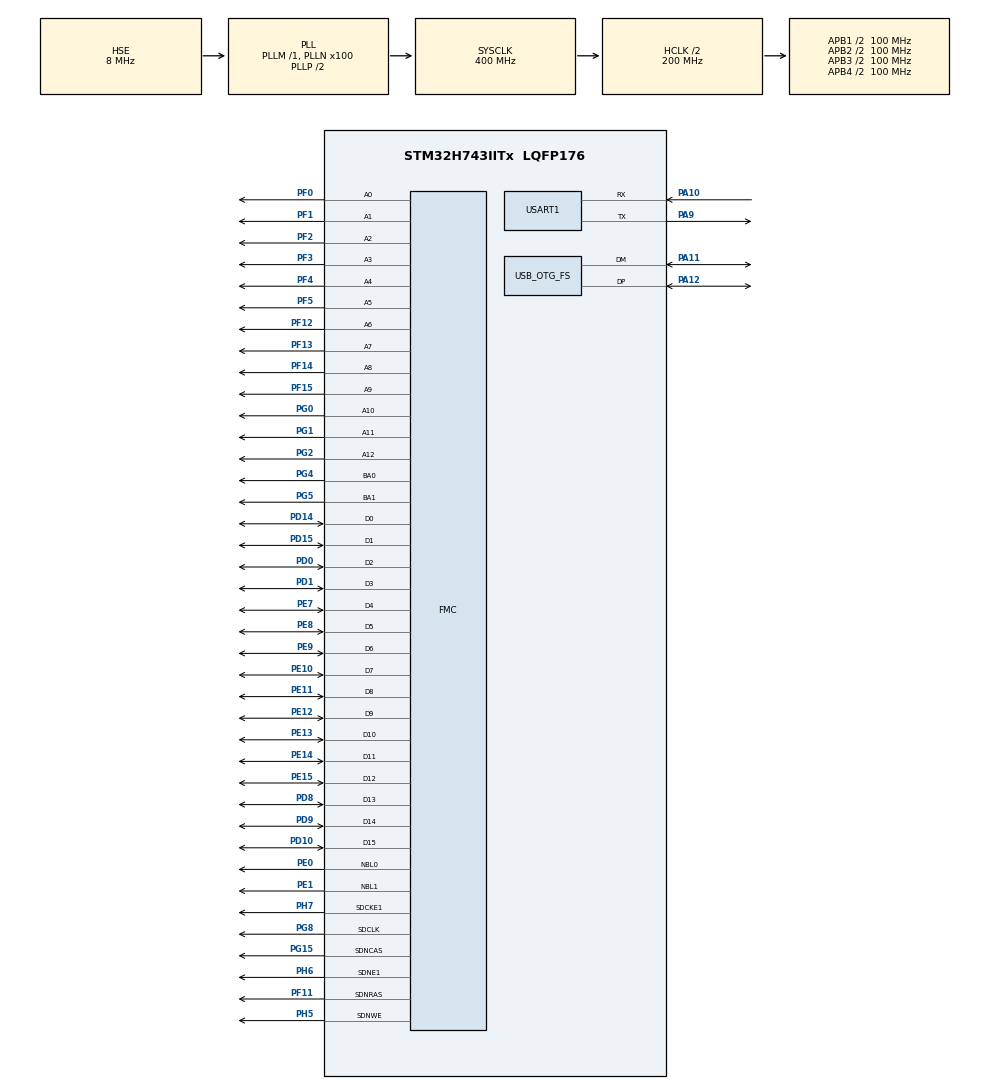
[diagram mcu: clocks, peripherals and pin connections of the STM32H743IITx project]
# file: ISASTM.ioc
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CORTEX_M7.AccessPermission-Cortex_Memory_Protection_Unit_Region0_Settings=MPU_REGION_FULL_ACCESS
CORTEX_M7.CPU_DCache=Disabled
CORTEX_M7.CPU_ICache=Disabled
CORTEX_M7.Enable-Cortex_Memory_Protection_Unit_Region0_Settings=MPU_REGION_ENABLE
CORTEX_M7.IsBufferable-Cortex_Memory_Protection_Unit_Region0_Settings=MPU_ACCESS_BUFFERABLE
CORTEX_M7.IsCacheable-Cortex_Memory_Protection_Unit_Region0_Settings=MPU_ACCESS_CACHEABLE
CORTEX_M7.IsShareable-Cortex_Memory_Protection_Unit_Region0_Settings=MPU_ACCESS_SHAREABLE
CORTEX_M7.MPU_Control=__NULL
CORTEX_M7.Size-Cortex_Memory_Protection_Unit_Region0_Settings=MPU_REGION_SIZE_4GB
FMC.BankMapConfig=FMC_SWAPBMAP_DISABLE
FMC.CASLatency2=FMC_SDRAM_CAS_LATENCY_3
FMC.ColumnBitsNumber2=FMC_SDRAM_COLUMN_BITS_NUM_9
FMC.ExitSelfRefreshDelay2=6
FMC.LoadToActiveDelay2=2
FMC.RCDDelay2=2
FMC.RPDelay2=2
FMC.ReadBurst2=FMC_SDRAM_RBURST_ENABLE
FMC.ReadPipeDelay2=FMC_SDRAM_RPIPE_DELAY_0
FMC.RowCycleDelay2=6
FMC.SDClockPeriod2=FMC_SDRAM_CLOCK_PERIOD_2
FMC.SelfRefreshTime2=1
FMC.WriteRecoveryTime2=3
Mcu.Family=STM32H7
Mcu.Name=STM32H743IITx
Mcu.Package=LQFP176
NVIC.OTG_FS_IRQn=true\:0\:0\:false\:false\:true\:false\:true
NVIC.PriorityGroup=NVIC_PRIORITYGROUP_4
PA10.Mode=Asynchronous
PA10.Signal=USART1_RX
PA11.Mode=Device_Only
PA11.Signal=USB_OTG_FS_DM
PA12.Mode=Device_Only
PA12.Signal=USB_OTG_FS_DP
PA9.Mode=Asynchronous
PA9.Signal=USART1_TX
PD0.Signal=FMC_D2_DA2
PD1.Signal=FMC_D3_DA3
PD10.Signal=FMC_D15_DA15
PD14.Signal=FMC_D0_DA0
PD15.Signal=FMC_D1_DA1
PD8.Signal=FMC_D13_DA13
PD9.Signal=FMC_D14_DA14
PE0.Signal=FMC_NBL0
PE1.Signal=FMC_NBL1
PE10.Signal=FMC_D7_DA7
PE11.Signal=FMC_D8_DA8
PE12.Signal=FMC_D9_DA9
PE13.Signal=FMC_D10_DA10
PE14.Signal=FMC_D11_DA11
PE15.Signal=FMC_D12_DA12
PE7.Signal=FMC_D4_DA4
PE8.Signal=FMC_D5_DA5
PE9.Signal=FMC_D6_DA6
PF0.Signal=FMC_A0
PF1.Signal=FMC_A1
PF11.Signal=FMC_SDNRAS
PF12.Signal=FMC_A6
PF13.Signal=FMC_A7
PF14.Signal=FMC_A8
PF15.Signal=FMC_A9
PF2.Signal=FMC_A2
PF3.Signal=FMC_A3
PF4.Signal=FMC_A4
PF5.Signal=FMC_A5
PG0.Signal=FMC_A10
PG1.Signal=FMC_A11
PG15.Signal=FMC_SDNCAS
PG2.Signal=FMC_A12
PG4.Signal=FMC_A14_BA0
PG5.Signal=FMC_A15_BA1
PG8.Signal=FMC_SDCLK
PH0-OSC_IN\ (PH0).Mode=HSE-External-Oscillator
PH0-OSC_IN\ (PH0).Signal=RCC_OSC_IN
PH1-OSC_OUT\ (PH1).Mode=HSE-External-Oscillator
PH1-OSC_OUT\ (PH1).Signal=RCC_OSC_OUT
PH5.Signal=FMC_SDNWE
PH6.Mode=SdramChipSelect2_2
PH6.Signal=FMC_SDNE1
PH7.Mode=SdramChipSelect2_2
PH7.Signal=FMC_SDCKE1
ProjectManager.HeapSize=0x200
ProjectManager.StackSize=0x400
ProjectManager.TargetToolchain=Makefile
RCC.ADCFreq_Value=100000000
RCC.APB1Freq_Value=100000000
RCC.APB2Freq_Value=100000000
RCC.APB3Freq_Value=100000000
RCC.APB4Freq_Value=100000000
RCC.CortexFreq_Value=400000000
RCC.D1PPRE=RCC_APB3_DIV2
RCC.D2PPRE1=RCC_APB1_DIV2
RCC.D2PPRE2=RCC_APB2_DIV2
RCC.D3PPRE=RCC_APB4_DIV2
RCC.DIVM1=1
RCC.DIVM2=1
RCC.DIVN1=100
RCC.DIVN2=25
RCC.DIVQ1=4
RCC.FMCCLockSelection=RCC_FMCCLKSOURCE_PLL2
RCC.HCLKFreq_Value=200000000
RCC.HPRE=RCC_HCLK_DIV2
RCC.HSE_VALUE=8000000
RCC.PLL2FRACN=0
RCC.PLL3FRACN=0
RCC.PLLFRACN=0
RCC.PLLSourceVirtual=RCC_PLLSOURCE_HSE
RCC.SYSCLKFreq_VALUE=400000000
RCC.SYSCLKSource=RCC_SYSCLKSOURCE_PLLCLK
RCC.USBCLockSelection=RCC_USBCLKSOURCE_HSI48
RCC.USBFreq_Value=48000000
SH.FMC_A0.0=FMC_A0,13b-sda2
SH.FMC_A1.0=FMC_A1,13b-sda2
SH.FMC_A10.0=FMC_A10,13b-sda2
SH.FMC_A11.0=FMC_A11,13b-sda2
SH.FMC_A12.0=FMC_A12,13b-sda2
SH.FMC_A14_BA0.0=FMC_BA0,FourSdramBanks2
SH.FMC_A15_BA1.0=FMC_BA1,FourSdramBanks2
SH.FMC_A2.0=FMC_A2,13b-sda2
SH.FMC_A3.0=FMC_A3,13b-sda2
SH.FMC_A4.0=FMC_A4,13b-sda2
SH.FMC_A5.0=FMC_A5,13b-sda2
SH.FMC_A6.0=FMC_A6,13b-sda2
SH.FMC_A7.0=FMC_A7,13b-sda2
SH.FMC_A8.0=FMC_A8,13b-sda2
SH.FMC_A9.0=FMC_A9,13b-sda2
SH.FMC_D0_DA0.0=FMC_D0,sd-16b-d2
SH.FMC_D10_DA10.0=FMC_D10,sd-16b-d2
SH.FMC_D11_DA11.0=FMC_D11,sd-16b-d2
SH.FMC_D12_DA12.0=FMC_D12,sd-16b-d2
SH.FMC_D13_DA13.0=FMC_D13,sd-16b-d2
SH.FMC_D14_DA14.0=FMC_D14,sd-16b-d2
SH.FMC_D15_DA15.0=FMC_D15,sd-16b-d2
SH.FMC_D1_DA1.0=FMC_D1,sd-16b-d2
SH.FMC_D2_DA2.0=FMC_D2,sd-16b-d2
SH.FMC_D3_DA3.0=FMC_D3,sd-16b-d2
SH.FMC_D4_DA4.0=FMC_D4,sd-16b-d2
SH.FMC_D5_DA5.0=FMC_D5,sd-16b-d2
SH.FMC_D6_DA6.0=FMC_D6,sd-16b-d2
SH.FMC_D7_DA7.0=FMC_D7,sd-16b-d2
SH.FMC_D8_DA8.0=FMC_D8,sd-16b-d2
SH.FMC_D9_DA9.0=FMC_D9,sd-16b-d2
SH.FMC_NBL0.0=FMC_NBL0,Sd2ByteEnable2
SH.FMC_NBL1.0=FMC_NBL1,Sd2ByteEnable2
SH.FMC_SDCLK.0=FMC_SDCLK,13b-sda2
SH.FMC_SDNCAS.0=FMC_SDNCAS,13b-sda2
SH.FMC_SDNRAS.0=FMC_SDNRAS,13b-sda2
SH.FMC_SDNWE.0=FMC_SDNWE,13b-sda2
USART1.VirtualMode-Asynchronous=VM_ASYNC
USB_DEVICE.APP_RX_DATA_SIZE-CDC_FS=2048
USB_DEVICE.CLASS_NAME_FS=CDC
USB_DEVICE.CLASS_NAME_HS=CDC
USB_DEVICE.CONFIGURATION_STRING_CDC_FS=ISA-over-USB
USB_DEVICE.INTERFACE_STRING_CDC_FS=ISA-over-USB
USB_DEVICE.MANUFACTURER_STRING-CDC_FS=Cute Kitten Laboratories
USB_DEVICE.PRODUCT_STRING_CDC_FS=ISA-over-USB
USB_DEVICE.VirtualMode-CDC_FS=Cdc
USB_DEVICE.VirtualMode-CDC_HS=Cdc
USB_DEVICE.VirtualModeFS=Cdc_FS
USB_DEVICE.VirtualModeHS=Cdc_HS
USB_OTG_FS.VirtualMode=Device_Only
VP_USB_DEVICE_VS_USB_DEVICE_CDC_FS.Mode=CDC_FS
board=custom

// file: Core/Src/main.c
/* USER CODE BEGIN Header */
/**
  ******************************************************************************
  * @file           : main.c
  * @brief          : Main program body
  ******************************************************************************
  * @attention
  *
  * <h2><center>&copy; Copyright (c) 2020 STMicroelectronics.
  * All rights reserved.</center></h2>
  *
  * This software component is licensed by ST under BSD 3-Clause license,
  * the "License"; You may not use this file except in compliance with the
  * License. You may obtain a copy of the License at:
  *                        opensource.org/licenses/BSD-3-Clause
  *
  ******************************************************************************
  */
/* USER CODE END Header */
#include "main.h"
#include "usb_device.h"
#include "debug.h"
#include "gpio.h"

/* USER CODE BEGIN Includes */
#include "../../USB_DEVICE/App/usbd_cdc_if.h"
#include "../../Drivers/STM32H7xx_HAL_Driver/Inc/stm32h7xx_hal_sdram.h"
/* USER CODE END Includes */

UART_HandleTypeDef huart1;

SDRAM_HandleTypeDef hsdram2;

/* USER CODE BEGIN PV */
FMC_SDRAM_CommandTypeDef command;
/* USER CODE END PV */

void SystemClock_Config(void);
static void MX_GPIO_Init(void);
static void MX_FMC_Init(void);
static void MX_USART1_UART_Init(void);
/* USER CODE BEGIN PFP */
static void SDRAM_Initialization_Sequence(SDRAM_HandleTypeDef *hsdram, FMC_SDRAM_CommandTypeDef *Command);

/* USER CODE END PFP */

/* USER CODE BEGIN 0 */
int _write(int file, char *ptr, int len)
{
  CDC_Transmit_FS((uint8_t *)ptr, len);
  //HAL_UART_Transmit(&huart1, (uint8_t *)ptr, len, 0xFFFF);
  return len;
}

/* USER CODE END 0 */

int main(void)
{

  /* MCU Configuration--------------------------------------------------------*/

  /* Reset of all peripherals, Initializes the Flash interface and the Systick. */
  HAL_Init();

  /* USER CODE BEGIN Init */
    /* Enable I-Cache---------------------------------------------------------*/
  //SCB_EnableICache();

  /* USER CODE END Init */

  /* Configure the system clock */
  SystemClock_Config();

  /* Initialize all configured peripherals */
  MX_GPIO_Init();
  MX_FMC_Init();
  MX_USART1_UART_Init();
  MX_USB_DEVICE_Init();
  /* USER CODE BEGIN 2 */

  SDRAM_Initialization_Sequence(&hsdram2, &command);
  init_leds();
  init_isastm();

  HAL_Delay(2500);
  printf("init done\n");
  /* USER CODE END 2 */

  /* Infinite loop */
  while (1)
  {

    /* USER CODE BEGIN 3 */

  	/*CDC_Receive_FS(usb_read_buffer, &length);

  	if (length)
  	{
  		printf("Read some data: %lu bytes \r\n", length);
  	}*/

  	switch_leds();

    /*volatile uint32_t* sdram = (uint32_t*) 0xD0000000UL;

    for (uint32_t i = 0; i < 0x0800000; ++i)
    {
      (void) sdram[i];
    }

    for (uint32_t i = 0; i < 0x0800000; ++i)
    {
      sdram[i] = 0x42424242;
    }

    for (uint32_t i = 0; i < 0x0800000; ++i)
    {
      uint32_t data = sdram[i];
      if (data != 0x42424242)
      {
        printf("Memory error 42 with data %08lx at 0x%08lx\n", data, i);
      }
    }

    for (uint32_t i = 0; i < 0x0800000; ++i)
    {
      sdram[i] = 0x55AA55AA;
    }

    for (uint32_t i = 0; i < 0x0800000; ++i)
    {
      uint32_t data = sdram[i];
      if (data != 0x55AA55AA)
      {
        printf("Memory error 55 with data %08lx at 0x%08lx\n", data, i);
      }
    }

    printf("Memory test done!\n");

    HAL_Delay(1000);
*/

  }
  /* USER CODE END 3 */
}

void SystemClock_Config(void)
{
  RCC_OscInitTypeDef RCC_OscInitStruct = {0};
  RCC_ClkInitTypeDef RCC_ClkInitStruct = {0};
  RCC_PeriphCLKInitTypeDef PeriphClkInitStruct = {0};

  /** Supply configuration update enable
  */
  HAL_PWREx_ConfigSupply(PWR_LDO_SUPPLY);
  /** Configure the main internal regulator output voltage
  */
  __HAL_PWR_VOLTAGESCALING_CONFIG(PWR_REGULATOR_VOLTAGE_SCALE1);

  while(!__HAL_PWR_GET_FLAG(PWR_FLAG_VOSRDY)) {}
  /** Macro to configure the PLL clock source
  */
  __HAL_RCC_PLL_PLLSOURCE_CONFIG(RCC_PLLSOURCE_HSE);
  /** Initializes the RCC Oscillators according to the specified parameters
  * in the RCC_OscInitTypeDef structure.
  */
  RCC_OscInitStruct.OscillatorType = RCC_OSCILLATORTYPE_HSI48|RCC_OSCILLATORTYPE_HSE;
  RCC_OscInitStruct.HSEState = RCC_HSE_ON;
  RCC_OscInitStruct.HSI48State = RCC_HSI48_ON;
  RCC_OscInitStruct.PLL.PLLState = RCC_PLL_ON;
  RCC_OscInitStruct.PLL.PLLSource = RCC_PLLSOURCE_HSE;
  RCC_OscInitStruct.PLL.PLLM = 1;
  RCC_OscInitStruct.PLL.PLLN = 100;
  RCC_OscInitStruct.PLL.PLLP = 2;
  RCC_OscInitStruct.PLL.PLLQ = 4;
  RCC_OscInitStruct.PLL.PLLR = 2;
  RCC_OscInitStruct.PLL.PLLRGE = RCC_PLL1VCIRANGE_3;
  RCC_OscInitStruct.PLL.PLLVCOSEL = RCC_PLL1VCOWIDE;
  RCC_OscInitStruct.PLL.PLLFRACN = 0;
  if (HAL_RCC_OscConfig(&RCC_OscInitStruct) != HAL_OK)
  {
    Error_Handler();
  }
  /** Initializes the CPU, AHB and APB buses clocks
  */
  RCC_ClkInitStruct.ClockType = RCC_CLOCKTYPE_HCLK|RCC_CLOCKTYPE_SYSCLK
                              |RCC_CLOCKTYPE_PCLK1|RCC_CLOCKTYPE_PCLK2
                              |RCC_CLOCKTYPE_D3PCLK1|RCC_CLOCKTYPE_D1PCLK1;
  RCC_ClkInitStruct.SYSCLKSource = RCC_SYSCLKSOURCE_PLLCLK;
  RCC_ClkInitStruct.SYSCLKDivider = RCC_SYSCLK_DIV1;
  RCC_ClkInitStruct.AHBCLKDivider = RCC_HCLK_DIV2;
  RCC_ClkInitStruct.APB3CLKDivider = RCC_APB3_DIV2;
  RCC_ClkInitStruct.APB1CLKDivider = RCC_APB1_DIV2;
  RCC_ClkInitStruct.APB2CLKDivider = RCC_APB2_DIV2;
  RCC_ClkInitStruct.APB4CLKDivider = RCC_APB4_DIV2;

  if (HAL_RCC_ClockConfig(&RCC_ClkInitStruct, FLASH_LATENCY_2) != HAL_OK)
  {
    Error_Handler();
  }
  PeriphClkInitStruct.PeriphClockSelection = RCC_PERIPHCLK_USART1|RCC_PERIPHCLK_USB
                              |RCC_PERIPHCLK_FMC;
  PeriphClkInitStruct.PLL2.PLL2M = 1;
  PeriphClkInitStruct.PLL2.PLL2N = 25;
  PeriphClkInitStruct.PLL2.PLL2P = 2;
  PeriphClkInitStruct.PLL2.PLL2Q = 2;
  PeriphClkInitStruct.PLL2.PLL2R = 2;
  PeriphClkInitStruct.PLL2.PLL2RGE = RCC_PLL2VCIRANGE_3;
  PeriphClkInitStruct.PLL2.PLL2VCOSEL = RCC_PLL2VCOWIDE;
  PeriphClkInitStruct.PLL2.PLL2FRACN = 0;
  PeriphClkInitStruct.FmcClockSelection = RCC_FMCCLKSOURCE_PLL2;
  PeriphClkInitStruct.Usart16ClockSelection = RCC_USART16CLKSOURCE_D2PCLK2;
  PeriphClkInitStruct.UsbClockSelection = RCC_USBCLKSOURCE_HSI48;
  if (HAL_RCCEx_PeriphCLKConfig(&PeriphClkInitStruct) != HAL_OK)
  {
    Error_Handler();
  }
  /** Enable USB Voltage detector
  */
  HAL_PWREx_EnableUSBVoltageDetector();
}

static void MX_USART1_UART_Init(void)
{

  huart1.Instance = USART1;
  huart1.Init.BaudRate = 115200;
  huart1.Init.WordLength = UART_WORDLENGTH_8B;
  huart1.Init.StopBits = UART_STOPBITS_1;
  huart1.Init.Parity = UART_PARITY_NONE;
  huart1.Init.Mode = UART_MODE_TX_RX;
  huart1.Init.HwFlowCtl = UART_HWCONTROL_NONE;
  huart1.Init.OverSampling = UART_OVERSAMPLING_16;
  huart1.Init.OneBitSampling = UART_ONE_BIT_SAMPLE_DISABLE;
  huart1.Init.ClockPrescaler = UART_PRESCALER_DIV1;
  huart1.AdvancedInit.AdvFeatureInit = UART_ADVFEATURE_NO_INIT;
  if (HAL_UART_Init(&huart1) != HAL_OK)
  {
    Error_Handler();
  }
  if (HAL_UARTEx_SetTxFifoThreshold(&huart1, UART_TXFIFO_THRESHOLD_1_8) != HAL_OK)
  {
    Error_Handler();
  }
  if (HAL_UARTEx_SetRxFifoThreshold(&huart1, UART_RXFIFO_THRESHOLD_1_8) != HAL_OK)
  {
    Error_Handler();
  }
  if (HAL_UARTEx_DisableFifoMode(&huart1) != HAL_OK)
  {
    Error_Handler();
  }

}

/* FMC initialization function */
static void MX_FMC_Init(void)
{

  FMC_SDRAM_TimingTypeDef SdramTiming = {0};

  /** Perform the SDRAM2 memory initialization sequence
  */
  hsdram2.Instance = FMC_SDRAM_DEVICE;
  /* hsdram2.Init */
  hsdram2.Init.SDBank = FMC_SDRAM_BANK2;
  hsdram2.Init.ColumnBitsNumber = FMC_SDRAM_COLUMN_BITS_NUM_9;
  hsdram2.Init.RowBitsNumber = FMC_SDRAM_ROW_BITS_NUM_13;
  hsdram2.Init.MemoryDataWidth = FMC_SDRAM_MEM_BUS_WIDTH_16;
  hsdram2.Init.InternalBankNumber = FMC_SDRAM_INTERN_BANKS_NUM_4;
  hsdram2.Init.CASLatency = FMC_SDRAM_CAS_LATENCY_3;
  hsdram2.Init.WriteProtection = FMC_SDRAM_WRITE_PROTECTION_DISABLE;
  hsdram2.Init.SDClockPeriod = FMC_SDRAM_CLOCK_PERIOD_2;
  hsdram2.Init.ReadBurst = FMC_SDRAM_RBURST_ENABLE;
  hsdram2.Init.ReadPipeDelay = FMC_SDRAM_RPIPE_DELAY_0;
  /* SdramTiming */
  SdramTiming.LoadToActiveDelay = 2;
  SdramTiming.ExitSelfRefreshDelay = 6;
  SdramTiming.SelfRefreshTime = 1;
  SdramTiming.RowCycleDelay = 6;
  SdramTiming.WriteRecoveryTime = 3;
  SdramTiming.RPDelay = 2;
  SdramTiming.RCDDelay = 2;

  if (HAL_SDRAM_Init(&hsdram2, &SdramTiming) != HAL_OK)
  {
    Error_Handler( );
  }

}

static void MX_GPIO_Init(void)
{

  /* GPIO Ports Clock Enable */
  __HAL_RCC_GPIOF_CLK_ENABLE();
  __HAL_RCC_GPIOH_CLK_ENABLE();
  __HAL_RCC_GPIOG_CLK_ENABLE();
  __HAL_RCC_GPIOE_CLK_ENABLE();
  __HAL_RCC_GPIOD_CLK_ENABLE();
  __HAL_RCC_GPIOA_CLK_ENABLE();

}

/* USER CODE BEGIN 4 */

/**
  * @brief  Perform the SDRAM exernal memory inialization sequence
  * @param  hsdram: SDRAM handle
  * @param  Command: Pointer to SDRAM command structure
  * @retval None
  */
static void SDRAM_Initialization_Sequence(SDRAM_HandleTypeDef *hsdram, FMC_SDRAM_CommandTypeDef *Command)
{
  __IO uint32_t tmpmrd =0;
  /* Step 1:  Configure a clock configuration enable command */
  Command->CommandMode = FMC_SDRAM_CMD_CLK_ENABLE;
  Command->CommandTarget = FMC_SDRAM_CMD_TARGET_BANK2;;
  Command->AutoRefreshNumber = 1;
  Command->ModeRegisterDefinition = 0;

  /* Send the command */
  HAL_SDRAM_SendCommand(hsdram, Command, SDRAM_TIMEOUT);

  /* Step 2: Insert 100 us minimum delay */
  /* Inserted delay is equal to 1 ms due to systick time base unit (ms) */
  HAL_Delay(1);

  /* Step 3: Configure a PALL (precharge all) command */
  Command->CommandMode = FMC_SDRAM_CMD_PALL;
  Command->CommandTarget = FMC_SDRAM_CMD_TARGET_BANK2;
  Command->AutoRefreshNumber = 1;
  Command->ModeRegisterDefinition = 0;

  /* Send the command */
  HAL_SDRAM_SendCommand(hsdram, Command, SDRAM_TIMEOUT);

  /* Step 4 : Configure a Auto-Refresh command */
  Command->CommandMode = FMC_SDRAM_CMD_AUTOREFRESH_MODE;
  Command->CommandTarget = FMC_SDRAM_CMD_TARGET_BANK2;
  Command->AutoRefreshNumber = 8;
  Command->ModeRegisterDefinition = 0;

  /* Send the command */
  HAL_SDRAM_SendCommand(hsdram, Command, SDRAM_TIMEOUT);

  /* Step 5: Program the external memory mode register */
  tmpmrd = (uint32_t)SDRAM_MODEREG_BURST_LENGTH_1          |
                     SDRAM_MODEREG_BURST_TYPE_SEQUENTIAL   |
                     SDRAM_MODEREG_CAS_LATENCY_3           |
                     SDRAM_MODEREG_OPERATING_MODE_STANDARD |
                     SDRAM_MODEREG_WRITEBURST_MODE_SINGLE;

  Command->CommandMode = FMC_SDRAM_CMD_LOAD_MODE;
  Command->CommandTarget = FMC_SDRAM_CMD_TARGET_BANK2;
  Command->AutoRefreshNumber = 1;
  Command->ModeRegisterDefinition = tmpmrd;

  /* Send the command */
  HAL_SDRAM_SendCommand(hsdram, Command, SDRAM_TIMEOUT);

  /* Step 6: Set the refresh rate counter */
  /* Set the device refresh rate */
  HAL_SDRAM_ProgramRefreshRate(hsdram, REFRESH_COUNT);

}

/* USER CODE END 4 */

void Error_Handler(void)
{
  /* USER CODE BEGIN Error_Handler_Debug */
  /* User can add his own implementation to report the HAL error return state */
  printf("Error_Handler\n");
  /* USER CODE END Error_Handler_Debug */
}

#ifdef  USE_FULL_ASSERT
/**
  * @brief  Reports the name of the source file and the source line number
  *         where the assert_param error has occurred.
  * @param  file: pointer to the source file name
  * @param  line: assert_param error line source number
  * @retval None
  */
void assert_failed(uint8_t *file, uint32_t line)
{
  /* USER CODE BEGIN 6 */
  /* User can add his own implementation to report the file name and line number,
     tex: printf("Wrong parameters value: file %s on line %d\r\n", file, line) */
  printf("Wrong parameters value: file %s on line %d\r\n", file, line);
  /* USER CODE END 6 */
}
#endif /* USE_FULL_ASSERT */

/************************ (C) COPYRIGHT STMicroelectronics *****END OF FILE****/
